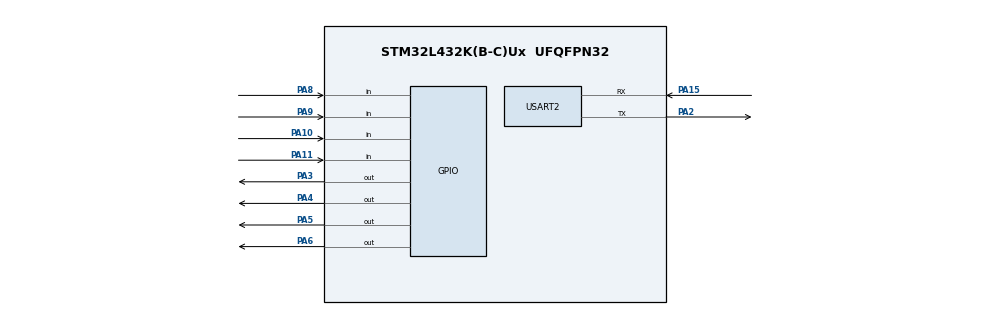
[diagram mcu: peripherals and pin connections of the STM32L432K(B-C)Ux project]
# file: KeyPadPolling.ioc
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Mcu.Family=STM32L4
Mcu.Name=STM32L432K(B-C)Ux
Mcu.Package=UFQFPN32
NVIC.PriorityGroup=NVIC_PRIORITYGROUP_4
PA10.Signal=GPIO_Input
PA11.Signal=GPIO_Input
PA13\ (JTMS-SWDIO).Mode=Serial_Wire
PA13\ (JTMS-SWDIO).Signal=SYS_JTMS-SWDIO
PA14\ (JTCK-SWCLK).Mode=Serial_Wire
PA14\ (JTCK-SWCLK).Signal=SYS_JTCK-SWCLK
PA15\ (JTDI).Mode=Asynchronous
PA15\ (JTDI).Signal=USART2_RX
PA2.Mode=Asynchronous
PA2.Signal=USART2_TX
PA3.Signal=GPIO_Output
PA4.Signal=GPIO_Output
PA5.Signal=GPIO_Output
PA6.Signal=GPIO_Output
PA8.Signal=GPIO_Input
PA9.Signal=GPIO_Input
PC14-OSC32_IN\ (PC14).Mode=LSE-External-Clock-Source
PC14-OSC32_IN\ (PC14).Signal=RCC_OSC32_IN
ProjectManager.HeapSize=0x200
ProjectManager.StackSize=0x400
ProjectManager.TargetToolchain=MDK-ARM V5
RCC.HSE_VALUE=8000000
RCC.HSI48_VALUE=48000000
RCC.HSI_VALUE=16000000
RCC.LSE_VALUE=32768
RCC.MSI_VALUE=4000000
RCC.VCOOutputFreq_Value=32000000
USART2.VirtualMode-Asynchronous=VM_ASYNC
board=custom

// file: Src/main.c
/**
  ******************************************************************************
  * @file           : main.c
  * @brief          : Main program body
  ******************************************************************************
  ** This notice applies to any and all portions of this file
  * that are not between comment pairs USER CODE BEGIN and
  * USER CODE END. Other portions of this file, whether
  * inserted by the user or by software development tools
  * are owned by their respective copyright owners.
  *
  * COPYRIGHT(c) 2023 STMicroelectronics
  *
  * Redistribution and use in source and binary forms, with or without modification,
  * are permitted provided that the following conditions are met:
  *   1. Redistributions of source code must retain the above copyright notice,
  *      this list of conditions and the following disclaimer.
  *   2. Redistributions in binary form must reproduce the above copyright notice,
  *      this list of conditions and the following disclaimer in the documentation
  *      and/or other materials provided with the distribution.
  *   3. Neither the name of STMicroelectronics nor the names of its contributors
  *      may be used to endorse or promote products derived from this software
  *      without specific prior written permission.
  *
  * THIS SOFTWARE IS PROVIDED BY THE COPYRIGHT HOLDERS AND CONTRIBUTORS "AS IS"
  * AND ANY EXPRESS OR IMPLIED WARRANTIES, INCLUDING, BUT NOT LIMITED TO, THE
  * IMPLIED WARRANTIES OF MERCHANTABILITY AND FITNESS FOR A PARTICULAR PURPOSE ARE
  * DISCLAIMED. IN NO EVENT SHALL THE COPYRIGHT HOLDER OR CONTRIBUTORS BE LIABLE
  * FOR ANY DIRECT, INDIRECT, INCIDENTAL, SPECIAL, EXEMPLARY, OR CONSEQUENTIAL
  * DAMAGES (INCLUDING, BUT NOT LIMITED TO, PROCUREMENT OF SUBSTITUTE GOODS OR
  * SERVICES; LOSS OF USE, DATA, OR PROFITS; OR BUSINESS INTERRUPTION) HOWEVER
  * CAUSED AND ON ANY THEORY OF LIABILITY, WHETHER IN CONTRACT, STRICT LIABILITY,
  * OR TORT (INCLUDING NEGLIGENCE OR OTHERWISE) ARISING IN ANY WAY OUT OF THE USE
  * OF THIS SOFTWARE, EVEN IF ADVISED OF THE POSSIBILITY OF SUCH DAMAGE.
  *
  ******************************************************************************
  */
#include "main.h"
#include "stm32l4xx_hal.h"

UART_HandleTypeDef huart2;

/* USER CODE BEGIN PV */
/* Private variables ---------------------------------------------------------*/

/* USER CODE END PV */

void SystemClock_Config(void);
static void MX_GPIO_Init(void);
static void MX_USART2_UART_Init(void);

/* USER CODE BEGIN PFP */
/* Private function prototypes -----------------------------------------------*/

/* USER CODE END PFP */

/* USER CODE BEGIN 0 */

#define C4_GPIO_PIN GPIO_PIN_6
#define C3_GPIO_PIN GPIO_PIN_5
#define C2_GPIO_PIN GPIO_PIN_4
#define C1_GPIO_PIN GPIO_PIN_3

#define R4_GPIO_PIN GPIO_PIN_11
#define R3_GPIO_PIN GPIO_PIN_10
#define R2_GPIO_PIN GPIO_PIN_9
#define R1_GPIO_PIN GPIO_PIN_8

uint8_t x;

/* USER CODE END 0 */

int main(void)
{

  /* MCU Configuration----------------------------------------------------------*/

  /* Reset of all peripherals, Initializes the Flash interface and the Systick. */
  HAL_Init();

  /* Configure the system clock */
  SystemClock_Config();

  /* Initialize all configured peripherals */
  MX_GPIO_Init();
  MX_USART2_UART_Init();

  /* Infinite loop */
  while (1)
  {

  /* USER CODE BEGIN 3 */
		HAL_GPIO_WritePin (GPIOA, C1_GPIO_PIN, GPIO_PIN_RESET);	//Pull the C1 low
		HAL_GPIO_WritePin (GPIOA, C2_GPIO_PIN, GPIO_PIN_SET);  // Pull the C2 High
		HAL_GPIO_WritePin (GPIOA, C3_GPIO_PIN, GPIO_PIN_SET);  // Pull the C3 High
		HAL_GPIO_WritePin (GPIOA, C4_GPIO_PIN, GPIO_PIN_SET);  // Pull the C4 High

		if (!(HAL_GPIO_ReadPin (GPIOA, R1_GPIO_PIN)))   // if the Col 1 is low
		{
			while (!(HAL_GPIO_ReadPin (GPIOA, R1_GPIO_PIN)));   // wait till the button is pressed
			x = '1';
			HAL_UART_Transmit(&huart2,&x , 1, 1000);
			HAL_Delay(250);
		}

		if (!(HAL_GPIO_ReadPin (GPIOA, R2_GPIO_PIN)))   // if the Col 2 is low
		{
			while (!(HAL_GPIO_ReadPin (GPIOA, R2_GPIO_PIN)));   // wait till the button is pressed
			x = '4';
			HAL_UART_Transmit(&huart2,&x , 1, 1000);
			HAL_Delay(250);
		}

		if (!(HAL_GPIO_ReadPin (GPIOA, R3_GPIO_PIN)))   // if the Col 3 is low
		{
			while (!(HAL_GPIO_ReadPin (GPIOA, R3_GPIO_PIN)));   // wait till the button is pressed
			x = '7';
			HAL_UART_Transmit(&huart2,&x , 1, 1000);
			HAL_Delay(250);
		}

		if (!(HAL_GPIO_ReadPin (GPIOA, R4_GPIO_PIN)))   // if the Col 4 is low
		{
			while (!(HAL_GPIO_ReadPin (GPIOA, R4_GPIO_PIN)));   // wait till the button is pressed
			x = '0';
			HAL_UART_Transmit(&huart2,&x , 1, 1000);
			HAL_Delay(250);
		}

		HAL_GPIO_WritePin (GPIOA, C1_GPIO_PIN, GPIO_PIN_SET);	//Pull the C1 high
		HAL_GPIO_WritePin (GPIOA, C2_GPIO_PIN, GPIO_PIN_RESET);  // Pull the C2 low
		HAL_GPIO_WritePin (GPIOA, C3_GPIO_PIN, GPIO_PIN_SET);  // Pull the C3 High
		HAL_GPIO_WritePin (GPIOA, C4_GPIO_PIN, GPIO_PIN_SET);  // Pull the C4 High

		if (!(HAL_GPIO_ReadPin (GPIOA, R1_GPIO_PIN)))   // if the Col 1 is low
		{
			while (!(HAL_GPIO_ReadPin (GPIOA, R1_GPIO_PIN)));   // wait till the button is pressed
			x = '2';
			HAL_UART_Transmit(&huart2,&x , 1, 1000);
			HAL_Delay(250);
		}

		if (!(HAL_GPIO_ReadPin (GPIOA, R2_GPIO_PIN)))   // if the Col 2 is low
		{
			while (!(HAL_GPIO_ReadPin (GPIOA, R2_GPIO_PIN)));   // wait till the button is pressed
			x = '5';
			HAL_UART_Transmit(&huart2,&x , 1, 1000);
			HAL_Delay(250);
		}

		if (!(HAL_GPIO_ReadPin (GPIOA, R3_GPIO_PIN)))   // if the Col 3 is low
		{
			while (!(HAL_GPIO_ReadPin (GPIOA, R3_GPIO_PIN)));   // wait till the button is pressed
			x = '8';
			HAL_UART_Transmit(&huart2,&x , 1, 1000);
			HAL_Delay(250);
		}

		if (!(HAL_GPIO_ReadPin (GPIOA, R4_GPIO_PIN)))   // if the Col 4 is low
		{
			while (!(HAL_GPIO_ReadPin (GPIOA, R4_GPIO_PIN)));   // wait till the button is pressed
			x = 'F';
			HAL_UART_Transmit(&huart2,&x , 1, 1000);
			HAL_Delay(250);
		}

		HAL_GPIO_WritePin (GPIOA, C1_GPIO_PIN, GPIO_PIN_SET);	//Pull the C1 high
		HAL_GPIO_WritePin (GPIOA, C2_GPIO_PIN, GPIO_PIN_SET);  // Pull the C2 high
		HAL_GPIO_WritePin (GPIOA, C3_GPIO_PIN, GPIO_PIN_RESET);  // Pull the C3 low
		HAL_GPIO_WritePin (GPIOA, C4_GPIO_PIN, GPIO_PIN_SET);  // Pull the C4 High

		if (!(HAL_GPIO_ReadPin (GPIOA, R1_GPIO_PIN)))   // if the Col 1 is low
		{
			while (!(HAL_GPIO_ReadPin (GPIOA, R1_GPIO_PIN)));   // wait till the button is pressed
			x = '3';
			HAL_UART_Transmit(&huart2,&x , 1, 1000);
			HAL_Delay(250);
		}

		if (!(HAL_GPIO_ReadPin (GPIOA, R2_GPIO_PIN)))   // if the Col 2 is low
		{
			while (!(HAL_GPIO_ReadPin (GPIOA, R2_GPIO_PIN)));   // wait till the button is pressed
			x = '6';
			HAL_UART_Transmit(&huart2,&x , 1, 1000);
			HAL_Delay(250);
		}

		if (!(HAL_GPIO_ReadPin (GPIOA, R3_GPIO_PIN)))   // if the Col 3 is low
		{
			while (!(HAL_GPIO_ReadPin (GPIOA, R3_GPIO_PIN)));   // wait till the button is pressed
			x = '9';
			HAL_UART_Transmit(&huart2,&x , 1, 1000);
			HAL_Delay(250);
		}

		if (!(HAL_GPIO_ReadPin (GPIOA, R4_GPIO_PIN)))   // if the Col 4 is low
		{
			while (!(HAL_GPIO_ReadPin (GPIOA, R4_GPIO_PIN)));   // wait till the button is pressed
			x = 'E';
			HAL_UART_Transmit(&huart2,&x , 1, 1000);
			HAL_Delay(250);
		}

		HAL_GPIO_WritePin (GPIOA, C1_GPIO_PIN, GPIO_PIN_SET);	//Pull the C1 high
		HAL_GPIO_WritePin (GPIOA, C2_GPIO_PIN, GPIO_PIN_SET);  // Pull the C2 high
		HAL_GPIO_WritePin (GPIOA, C3_GPIO_PIN, GPIO_PIN_SET);  // Pull the C3 High
		HAL_GPIO_WritePin (GPIOA, C4_GPIO_PIN, GPIO_PIN_RESET);  // Pull the C4 low

		if (!(HAL_GPIO_ReadPin (GPIOA, R1_GPIO_PIN)))   // if the Col 1 is low
		{
			while (!(HAL_GPIO_ReadPin (GPIOA, R1_GPIO_PIN)));   // wait till the button is pressed
			x = 'A';
			HAL_UART_Transmit(&huart2,&x , 1, 1000);
			HAL_Delay(250);
		}

		if (!(HAL_GPIO_ReadPin (GPIOA, R2_GPIO_PIN)))   // if the Col 2 is low
		{
			while (!(HAL_GPIO_ReadPin (GPIOA, R2_GPIO_PIN)));   // wait till the button is pressed
			x = 'B';
			HAL_UART_Transmit(&huart2,&x , 1, 1000);
			HAL_Delay(250);
		}

		if (!(HAL_GPIO_ReadPin (GPIOA, R3_GPIO_PIN)))   // if the Col 3 is low
		{
			while (!(HAL_GPIO_ReadPin (GPIOA, R3_GPIO_PIN)));   // wait till the button is pressed
			x = 'C';
			HAL_UART_Transmit(&huart2,&x , 1, 1000);
			HAL_Delay(250);
		}

		if (!(HAL_GPIO_ReadPin (GPIOA, R4_GPIO_PIN)))   // if the Col 4 is low
		{
			while (!(HAL_GPIO_ReadPin (GPIOA, R4_GPIO_PIN)));   // wait till the button is pressed
			x = 'D';
			HAL_UART_Transmit(&huart2,&x , 1, 1000);
			HAL_Delay(250);
		}
  /* USER CODE END 3 */

	}
}

void SystemClock_Config(void)
{

  RCC_OscInitTypeDef RCC_OscInitStruct;
  RCC_ClkInitTypeDef RCC_ClkInitStruct;
  RCC_PeriphCLKInitTypeDef PeriphClkInit;

    /**Initializes the CPU, AHB and APB busses clocks
    */
  RCC_OscInitStruct.OscillatorType = RCC_OSCILLATORTYPE_LSE|RCC_OSCILLATORTYPE_MSI;
  RCC_OscInitStruct.LSEState = RCC_LSE_BYPASS;
  RCC_OscInitStruct.MSIState = RCC_MSI_ON;
  RCC_OscInitStruct.MSICalibrationValue = 0;
  RCC_OscInitStruct.MSIClockRange = RCC_MSIRANGE_6;
  RCC_OscInitStruct.PLL.PLLState = RCC_PLL_NONE;
  if (HAL_RCC_OscConfig(&RCC_OscInitStruct) != HAL_OK)
  {
    _Error_Handler(__FILE__, __LINE__);
  }

    /**Initializes the CPU, AHB and APB busses clocks
    */
  RCC_ClkInitStruct.ClockType = RCC_CLOCKTYPE_HCLK|RCC_CLOCKTYPE_SYSCLK
                              |RCC_CLOCKTYPE_PCLK1|RCC_CLOCKTYPE_PCLK2;
  RCC_ClkInitStruct.SYSCLKSource = RCC_SYSCLKSOURCE_MSI;
  RCC_ClkInitStruct.AHBCLKDivider = RCC_SYSCLK_DIV1;
  RCC_ClkInitStruct.APB1CLKDivider = RCC_HCLK_DIV1;
  RCC_ClkInitStruct.APB2CLKDivider = RCC_HCLK_DIV1;

  if (HAL_RCC_ClockConfig(&RCC_ClkInitStruct, FLASH_LATENCY_0) != HAL_OK)
  {
    _Error_Handler(__FILE__, __LINE__);
  }

  PeriphClkInit.PeriphClockSelection = RCC_PERIPHCLK_USART2;
  PeriphClkInit.Usart2ClockSelection = RCC_USART2CLKSOURCE_PCLK1;
  if (HAL_RCCEx_PeriphCLKConfig(&PeriphClkInit) != HAL_OK)
  {
    _Error_Handler(__FILE__, __LINE__);
  }

    /**Configure the main internal regulator output voltage
    */
  if (HAL_PWREx_ControlVoltageScaling(PWR_REGULATOR_VOLTAGE_SCALE1) != HAL_OK)
  {
    _Error_Handler(__FILE__, __LINE__);
  }

    /**Configure the Systick interrupt time
    */
  HAL_SYSTICK_Config(HAL_RCC_GetHCLKFreq()/1000);

    /**Configure the Systick
    */
  HAL_SYSTICK_CLKSourceConfig(SYSTICK_CLKSOURCE_HCLK);

    /**Enable MSI Auto calibration
    */
  HAL_RCCEx_EnableMSIPLLMode();

  /* SysTick_IRQn interrupt configuration */
  HAL_NVIC_SetPriority(SysTick_IRQn, 0, 0);
}

/* USART2 init function */
static void MX_USART2_UART_Init(void)
{

  huart2.Instance = USART2;
  huart2.Init.BaudRate = 115200;
  huart2.Init.WordLength = UART_WORDLENGTH_8B;
  huart2.Init.StopBits = UART_STOPBITS_1;
  huart2.Init.Parity = UART_PARITY_NONE;
  huart2.Init.Mode = UART_MODE_TX_RX;
  huart2.Init.HwFlowCtl = UART_HWCONTROL_NONE;
  huart2.Init.OverSampling = UART_OVERSAMPLING_16;
  huart2.Init.OneBitSampling = UART_ONE_BIT_SAMPLE_DISABLE;
  huart2.AdvancedInit.AdvFeatureInit = UART_ADVFEATURE_NO_INIT;
  if (HAL_UART_Init(&huart2) != HAL_OK)
  {
    _Error_Handler(__FILE__, __LINE__);
  }

}

/** Configure pins as
        * Analog
        * Input
        * Output
        * EVENT_OUT
        * EXTI
*/
static void MX_GPIO_Init(void)
{

  GPIO_InitTypeDef GPIO_InitStruct;

  /* GPIO Ports Clock Enable */
  __HAL_RCC_GPIOC_CLK_ENABLE();
  __HAL_RCC_GPIOA_CLK_ENABLE();

  /*Configure GPIO pin Output Level */
  HAL_GPIO_WritePin(GPIOA, GPIO_PIN_3|GPIO_PIN_4|GPIO_PIN_5|GPIO_PIN_6, GPIO_PIN_RESET);

  /*Configure GPIO pins : PA3 PA4 PA5 PA6 */
  GPIO_InitStruct.Pin = GPIO_PIN_3|GPIO_PIN_4|GPIO_PIN_5|GPIO_PIN_6;
  GPIO_InitStruct.Mode = GPIO_MODE_OUTPUT_PP;
  GPIO_InitStruct.Pull = GPIO_NOPULL;
  GPIO_InitStruct.Speed = GPIO_SPEED_FREQ_LOW;
  HAL_GPIO_Init(GPIOA, &GPIO_InitStruct);

  /*Configure GPIO pins : PA8 PA9 PA10 PA11 */
  GPIO_InitStruct.Pin = GPIO_PIN_8|GPIO_PIN_9|GPIO_PIN_10|GPIO_PIN_11;
  GPIO_InitStruct.Mode = GPIO_MODE_INPUT;
  GPIO_InitStruct.Pull = GPIO_NOPULL;
  HAL_GPIO_Init(GPIOA, &GPIO_InitStruct);

}

void _Error_Handler(char *file, int line)
{
  while(1)
  {
  }
}

/************************ (C) COPYRIGHT STMicroelectronics *****END OF FILE****/
